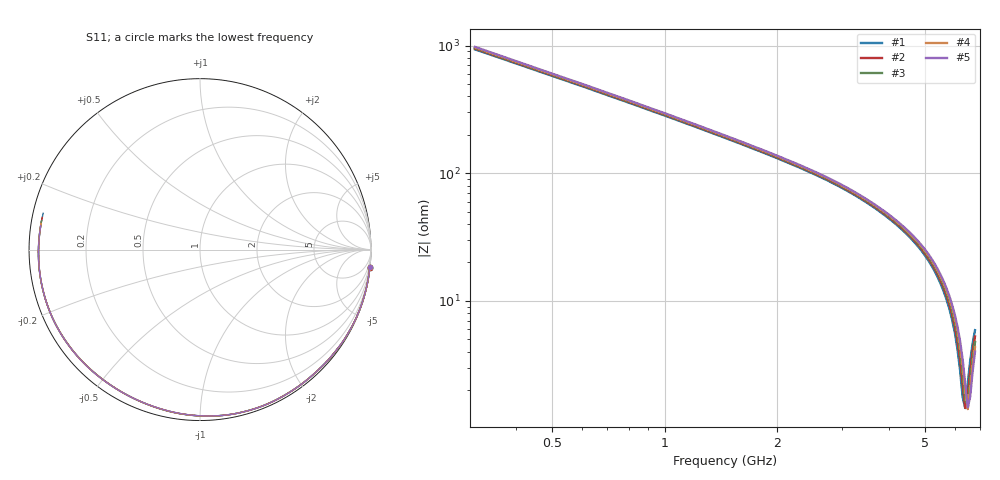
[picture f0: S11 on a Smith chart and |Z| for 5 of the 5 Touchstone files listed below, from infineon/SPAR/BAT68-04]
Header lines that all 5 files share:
! Infineon Technologies  Discrete & RF Semiconductors
! BAT68-04
! One-Port S-Parameters
# Hz  S  MA  R  50
!f  S11
!Hz  Mag  Ang
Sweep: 309.9 MHz to 6.807 GHz
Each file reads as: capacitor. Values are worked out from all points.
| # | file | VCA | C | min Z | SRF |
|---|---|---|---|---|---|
| 1 | BAT68-04_VCA_4V.s1p | 4 V | 549 fF | 1.45 ohm | 6.385 GHz |
| 2 | BAT68-04_VCA_5V.s1p | 5 V | 541 fF | 1.46 ohm | 6.434 GHz |
| 3 | BAT68-04_VCA_6V.s1p | 6 V | 535 fF | 1.5 ohm | 6.473 GHz |
| 4 | BAT68-04_VCA_7V.s1p | 7 V | 531 fF | 1.42 ohm | 6.505 GHz |
| 5 | BAT68-04_VCA_8V.s1p | 8 V | 527 fF | 1.46 ohm | 6.532 GHz |
